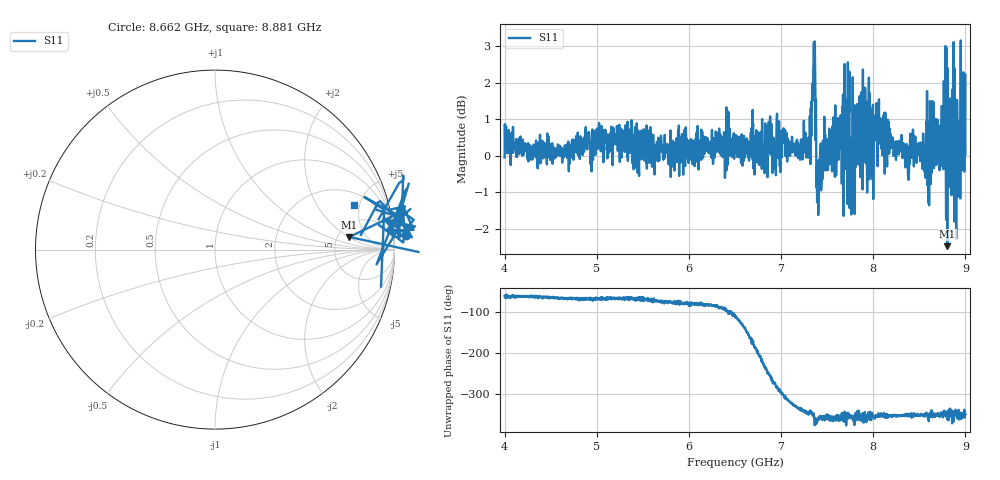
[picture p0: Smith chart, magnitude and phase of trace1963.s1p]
! Created with skrf 1.8.0 (http://scikit-rf.org).
# Hz S RI R 50.0
!freq ReS11 ImS11
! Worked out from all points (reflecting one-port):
!   1601 points, 4 GHz to 9 GHz, reference 50 ohm
!   lowest |S11| = -2.5 dB at 8.803 GHz (marker M1), VSWR 7.06, Z = 319 + j103 ohm
!   phase of S11 starts at -59 deg and turns -291 deg over the sweep
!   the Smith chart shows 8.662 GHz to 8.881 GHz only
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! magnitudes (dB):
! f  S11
! 4 GHz  -0.1
! 4.625 GHz  -0.2
! 5.25 GHz  -0.2
! 5.875 GHz  0.1
! 6.5 GHz  0.4
! 7.125 GHz  0.2
! 7.294 GHz  -0.1
! 7.347 GHz  1.6
! 7.362 GHz  2.3
! 7.397 GHz  -1.1
! 7.409 GHz  -0.6
! 7.478 GHz  0.6
! 7.6 GHz  -0.1
! 7.669 GHz  1.2
! 7.75 GHz  -0.7
! 7.769 GHz  -0.5
! 7.844 GHz  0.4
! 7.981 GHz  0.0
! 8.038 GHz  0.5
! 8.375 GHz  0.0
! 8.425 GHz  0.4
! 8.581 GHz  0.6
! 8.803 GHz  -2.5
! 8.828 GHz  0.7
! 8.884 GHz  2.4
! 8.919 GHz  -0.2
! 8.972 GHz  0.8
! 9 GHz  0.0
